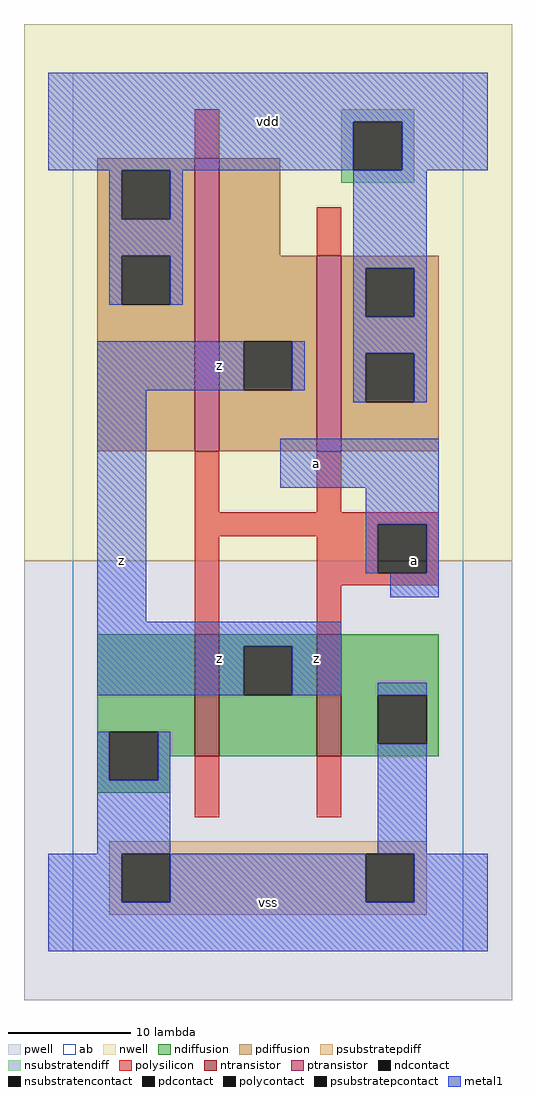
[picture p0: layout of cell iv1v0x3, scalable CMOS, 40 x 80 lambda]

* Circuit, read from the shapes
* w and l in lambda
.subckt iv1v0x3 a vdd vss z
M1 z a vss vss nfet w=10 l=2 m=2
M2 z a vdd vdd pfet w=24 l=2
M3 vdd a z vdd pfet w=16 l=2
.ends

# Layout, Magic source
magic
tech scmos
<< ab >>
rect 0 0 32 72
<< pwell >>
rect -4 -4 36 32
<< nwell >>
rect -4 32 36 76
<< polysilicon >>
rect 10 65 12 69
rect 20 57 22 61
rect 10 36 12 41
rect 20 36 22 41
rect 10 35 30 36
rect 10 34 25 35
rect 10 26 12 34
rect 20 31 25 34
rect 29 31 30 35
rect 20 30 30 31
rect 20 26 22 30
rect 10 11 12 16
rect 20 11 22 16
<< ndiffusion >>
rect 2 18 10 26
rect 2 14 3 18
rect 7 16 10 18
rect 12 25 20 26
rect 12 21 14 25
rect 18 21 20 25
rect 12 16 20 21
rect 22 21 30 26
rect 22 17 25 21
rect 29 17 30 21
rect 22 16 30 17
rect 7 14 8 16
rect 2 13 8 14
<< pdiffusion >>
rect 2 64 10 65
rect 2 60 4 64
rect 8 60 10 64
rect 2 57 10 60
rect 2 53 4 57
rect 8 53 10 57
rect 2 41 10 53
rect 12 57 17 65
rect 12 50 20 57
rect 12 46 14 50
rect 18 46 20 50
rect 12 41 20 46
rect 22 56 30 57
rect 22 52 24 56
rect 28 52 30 56
rect 22 49 30 52
rect 22 45 24 49
rect 28 45 30 49
rect 22 41 30 45
<< metal1 >>
rect -2 68 34 72
rect -2 64 23 68
rect 27 64 34 68
rect 3 60 4 64
rect 8 60 9 64
rect 3 57 9 60
rect 3 53 4 57
rect 8 53 9 57
rect 23 56 29 64
rect 23 52 24 56
rect 28 52 29 56
rect 2 46 14 50
rect 18 46 19 50
rect 23 49 29 52
rect 2 27 6 46
rect 23 45 24 49
rect 28 45 29 49
rect 17 38 30 42
rect 24 35 30 38
rect 24 31 25 35
rect 29 31 30 35
rect 26 29 30 31
rect 2 25 22 27
rect 2 21 14 25
rect 18 21 22 25
rect 25 21 29 22
rect 2 14 3 18
rect 7 14 8 18
rect 2 8 8 14
rect 25 8 29 17
rect -2 4 4 8
rect 8 4 24 8
rect 28 4 34 8
rect -2 0 34 4
<< ntransistor >>
rect 10 16 12 26
rect 20 16 22 26
<< ptransistor >>
rect 10 41 12 65
rect 20 41 22 57
<< polycontact >>
rect 25 31 29 35
<< ndcontact >>
rect 3 14 7 18
rect 14 21 18 25
rect 25 17 29 21
<< pdcontact >>
rect 4 60 8 64
rect 4 53 8 57
rect 14 46 18 50
rect 24 52 28 56
rect 24 45 28 49
<< psubstratepcontact >>
rect 4 4 8 8
rect 24 4 28 8
<< nsubstratencontact >>
rect 23 64 27 68
<< psubstratepdiff >>
rect 3 8 29 9
rect 3 4 4 8
rect 8 4 24 8
rect 28 4 29 8
rect 3 3 29 4
<< nsubstratendiff >>
rect 22 68 28 69
rect 22 64 23 68
rect 27 64 28 68
rect 22 63 28 64
<< labels >>
rlabel metal1 4 32 4 32 6 z
rlabel metal1 12 24 12 24 6 z
rlabel metal1 12 48 12 48 6 z
rlabel metal1 16 4 16 4 6 vss
rlabel metal1 20 24 20 24 6 z
rlabel metal1 20 40 20 40 6 a
rlabel metal1 16 68 16 68 6 vdd
rlabel polycontact 28 32 28 32 6 a
<< end >>
